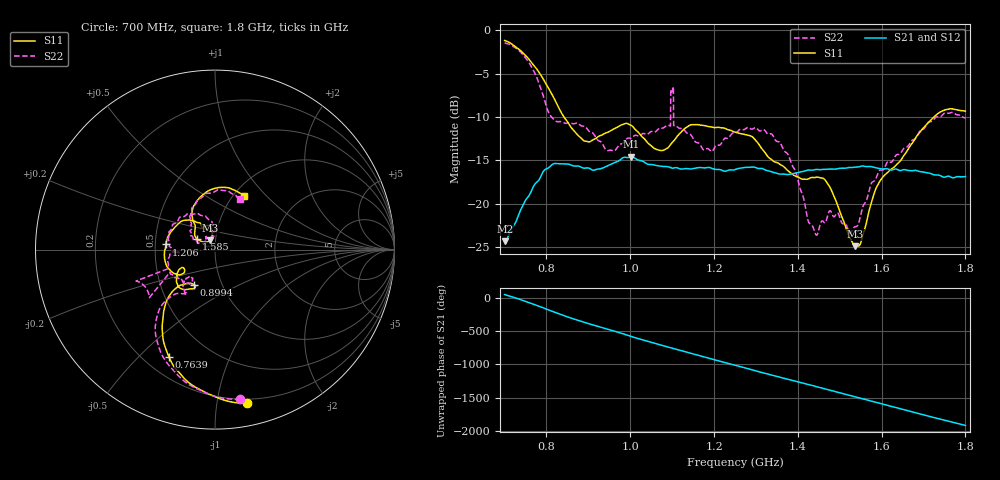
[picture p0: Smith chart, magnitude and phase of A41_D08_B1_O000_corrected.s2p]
! Created with skrf 1.9.0 (http://scikit-rf.org).
# Hz S RI R 50.0
!freq ReS11 ImS11 ReS21 ImS21 ReS12 ImS12 ReS22 ImS22
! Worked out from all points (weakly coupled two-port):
!   1601 points, 700 MHz to 1.8 GHz, reference 50 ohm
!   highest |S21| = -14.59 dB at 1.002 GHz (marker M1); lowest = -24.3 dB at 700.7 MHz (marker M2)
!   lowest |S11| = -24.9 dB at 1.537 GHz (marker M3), VSWR 1.12, Z = 47.3 + j4.81 ohm
!   |S11| at or under -10 dB: 841.6 MHz to 1.725 GHz (883.6 MHz wide, 68.8 % of centre)
!   |S22| runs from -23.7 to -1.5 dB; largest |S21 - S12| = 0.0036
!   S11 on the Smith chart (normalised r, x): 700 MHz: 0.17, -1.21; 763.9 MHz: 0.30, -0.62; 899.4 MHz: 0.74, -0.30; 1.206 GHz: 0.57, +0.04; 1.585 GHz: 0.81, +0.10; 1.8 GHz: 1.12, +0.76
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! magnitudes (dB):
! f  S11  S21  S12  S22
! 700 MHz  -1.2  -24.3  -24.1  -1.5
! 700.7 MHz  -1.2  -24.3  -24.0  -1.5
! 763.9 MHz  -3.7  -18.5  -18.6  -4.2
! 813.4 MHz  -7.4  -15.5  -15.5  -10.1
! 883.6 MHz  -12.5  -15.8  -15.7  -11.0
! 899.4 MHz  -12.9  -15.9  -15.9  -11.5
! 946.1 MHz  -11.8  -15.6  -15.7  -13.9
! 1.002 GHz  -11.0  -14.6  -14.7  -12.5
! 1.067 GHz  -13.8  -15.7  -15.6  -11.4
! 1.091 GHz  -13.5  -15.8  -15.8  -11.0
! 1.102 GHz  -12.9  -15.9  -15.9  -6.7
! 1.109 GHz  -12.4  -15.9  -15.9  -11.0
! 1.206 GHz  -11.2  -16.1  -16.1  -13.2
! 1.25 GHz  -11.8  -16.1  -16.0  -11.9
! 1.357 GHz  -15.5  -16.6  -16.6  -13.0
! 1.434 GHz  -17.0  -16.2  -16.1  -22.5
! 1.472 GHz  -17.8  -16.0  -16.0  -21.2
! 1.537 GHz  -24.9  -15.8  -15.8  -22.7
! 1.585 GHz  -18.5  -15.8  -15.9  -17.3
! 1.617 GHz  -16.3  -16.0  -16.0  -15.1
! 1.733 GHz  -9.7  -16.7  -16.7  -10.0
! 1.8 GHz  -9.3  -16.9  -16.9  -10.1
